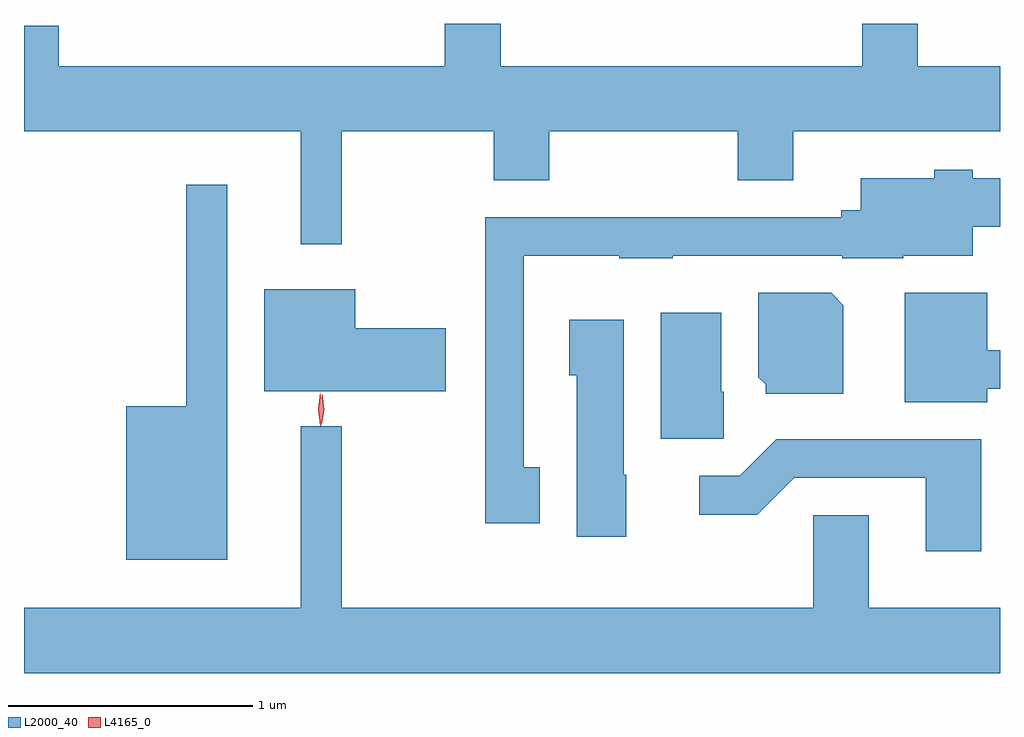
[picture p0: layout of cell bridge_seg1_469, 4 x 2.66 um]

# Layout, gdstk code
import gdstk
lib = gdstk.Library(unit=1e-6, precision=1e-09)
def P(c, l, *ps):  # polygons
    for p in ps: c.add(gdstk.Polygon(p, *l))
L2000_40 = (2000, 40)
L4165_0 = (4165, 0)

bridge_seg1_469 = lib.new_cell('bridge_seg1_469')
P(bridge_seg1_469, L2000_40, [(388.599,850.736),(389.221,850.736),(389.221,850.536),(389.449,850.536),(389.449,850.736),(390.221,850.736),(390.221,850.536),(390.449,850.536),(390.449,850.736),(391.296,850.736),(391.296,851.004),(390.959,851.004),(390.959,851.177),(390.731,851.177),(390.731,851.004),(389.249,851.004),(389.249,851.177),(389.021,851.177),(389.021,851.004),(387.439,851.004),(387.439,851.169),(387.296,851.169),(387.296,850.736),(388.431,850.736),(388.431,850.273),(388.599,850.273)],
  [(389.409,849.359),(389.344,849.359),(389.344,850.226),(389.735,850.226),(389.735,850.216),(389.955,850.216),(389.955,850.226),(390.65,850.226),(390.65,850.216),(390.9,850.216),(390.9,850.226),(391.184,850.226),(391.184,850.346),(391.296,850.346),(391.296,850.544),(391.184,850.544),(391.184,850.579),(391.026,850.579),(391.026,850.544),(390.726,850.544),(390.726,850.414),(390.646,850.414),(390.646,850.384),(389.186,850.384),(389.186,849.131),(389.409,849.131)],
  [(388.129,850.518),(387.961,850.518),(387.961,849.609),(387.716,849.609),(387.716,848.981),(388.129,848.981)],
  [(389.024,849.929),(388.654,849.929),(388.654,850.089),(388.281,850.089),(388.281,849.671),(389.024,849.671)],
  [(391.244,849.681),(391.296,849.681),(391.296,849.839),(391.244,849.839),(391.244,850.074),(390.906,850.074),(390.906,849.626),(391.244,849.626)],
  [(390.654,850.024),(390.604,850.074),(390.306,850.074),(390.306,849.729),(390.336,849.699),(390.336,849.661),(390.654,849.661)],
  [(390.164,849.67),(390.154,849.67),(390.154,849.994),(389.906,849.994),(389.906,849.476),(390.164,849.476)],
  [(389.764,849.33),(389.754,849.33),(389.754,849.964),(389.531,849.964),(389.531,849.736),(389.561,849.736),(389.561,849.076),(389.764,849.076)],
  [(391.296,848.784),(390.759,848.784),(390.759,849.164),(390.531,849.164),(390.531,848.784),(388.599,848.784),(388.599,849.528),(388.431,849.528),(388.431,848.784),(387.296,848.784),(387.296,848.516),(391.296,848.516)],
  [(391.219,849.474),(390.379,849.474),(390.229,849.324),(390.063,849.324),(390.063,849.166),(390.302,849.166),(390.452,849.316),(390.991,849.316),(390.991,849.016),(391.219,849.016)])
P(bridge_seg1_469, L4165_0, [(388.516,849.533),(388.516,849.534),(388.507,849.597),(388.518,849.659),(388.518,849.66),(388.519,849.659),(388.527,849.596),(388.517,849.534)],
  [(388.511,849.53),(388.511,849.53),(388.501,849.598),(388.51,849.666),(388.511,849.666),(388.511,849.666),(388.521,849.598),(388.512,849.53)])

lib.write_gds('bridge_seg1_469.gds')
